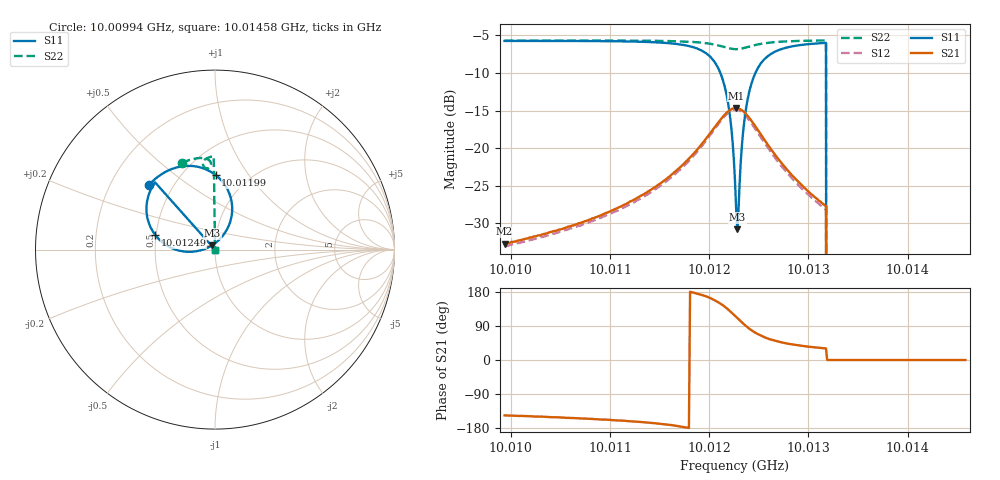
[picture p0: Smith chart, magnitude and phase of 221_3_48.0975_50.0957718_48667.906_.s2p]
#  HZ  S  RI  R  50.00
! Rohde & Schwarz Vector Network Analyzer
! Rohde-Schwarz,ZNB20-2Port,1311601062101988,3.16
! Created: UTC 12/23/2023, 3:56:46 AM
! freq[Hz]  re:S11  im:S11  re:S21  im:S21  re:S12  im:S12  re:S22  im:S22
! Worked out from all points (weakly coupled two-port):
!   401 points, 10.00994 GHz to 10.01458 GHz, reference 50 ohm
!   highest |S21| = -14.66 dB at 10.01227 GHz (marker M1); lowest = -32.7 dB at 10.00994 GHz (marker M2)
!   lowest |S11| = -30.8 dB at 10.01228 GHz (marker M3), VSWR 1.06, Z = 48.5 + j2.42 ohm
!   |S11| at or under -10 dB: 10.01211 GHz to 10.01247 GHz (353.3 kHz wide, 0.00353 % of centre); 10.01318 GHz to end of sweep
!   |S22| runs from - to -5.7 dB; largest |S21 - S12| = 0.009
!   S11 on the Smith chart (normalised r, x): 10.00994 GHz: 0.37, +0.36; 10.01199 GHz: 0.71, +0.71; 10.01249 GHz: 0.50, +0.09; 10.01458 GHz: 1.00, +0.00
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1.0009938e10  -0.3695 0.3603  -0.0192 -0.0129  -0.0179 -0.0134  -0.1858 0.4842
1.0010716e10  -0.3137 0.4091  -0.0289 -0.0138  -0.0272 -0.0148  -0.1358 0.501
1.0011494e10  -0.2079 0.4593  -0.0563 -0.012  -0.0535 -0.0142  -0.0786 0.5105
1.0011819e10  -0.1004 0.4623  -0.0883 0.00109  -0.0853 -0.00336  -0.0484 0.5067
1.0011993e10  0.00384 0.4151  -0.1175 0.0305  -0.1156 0.0234  -0.03 0.4953
1.0012097e10  0.0748 0.3245  -0.1315 0.0719  -0.1319 0.0631  -0.0226 0.4802
1.0012167e10  0.0958 0.2191  -0.1273 0.1122  -0.1289 0.1045  -0.0241 0.4665
1.0012225e10  0.0675 0.1135  -0.1046 0.1487  -0.1087 0.1407  -0.0323 0.4569
1.001226e10  0.0239 0.0554  -0.0821 0.1654  -0.0864 0.1583  -0.0399 0.4535
1.0012271e10  0.00531 0.0391  -0.0734 0.1696  -0.078 0.1626  -0.0428 0.4531
1.0012283e10  -0.0146 0.0249  -0.0645 0.1728  -0.0689 0.1662  -0.0455 0.4532
1.0012295e10  -0.036 0.0126  -0.0557 0.1749  -0.0602 0.1685  -0.0483 0.4534
1.0012341e10  -0.1266 -0.0121  -0.0197 0.1751  -0.0246 0.1691  -0.0582 0.458
1.0012376e10  -0.1921 -0.00745  0.00453 0.1671  -0.000441 0.1618  -0.0634 0.4637
1.0012422e10  -0.2632 0.02  0.029 0.1503  0.0228 0.1456  -0.0668 0.4726
1.0012492e10  -0.3328 0.0813  0.049 0.122  0.0431 0.1182  -0.0662 0.4851
1.0012678e10  -0.3818 0.2234  0.0566 0.0672  0.0515 0.0661  -0.051 0.5055
1.0013037e10  -0.3495 0.3491  0.0406 0.0274  0.0373 0.0279  -0.0183 0.5182
1.0013153e10  -0.3362 0.3706  0.0362 0.0218  0.0333 0.0224  -0.00892 0.5197
1.0013212e10  0 0  0 0  0 0  0 0
1.0013815e10  0 0  0 0  0 0  0 0
1.0014581e10  0 0  0 0  0 0  0 0
